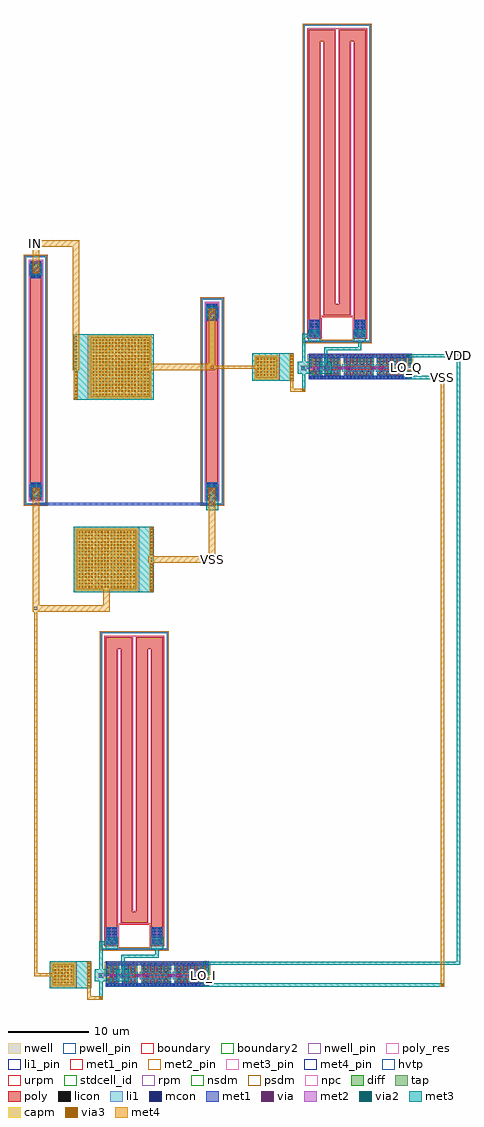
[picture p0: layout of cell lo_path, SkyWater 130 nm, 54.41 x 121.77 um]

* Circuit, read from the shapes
.subckt lo_path IN LOB_I LOB_Q LO_I LO_Q VDD VSS
XM1 n1 n2 VSS VSS sky130_fd_pr__nfet_01v8 w=0.65 l=0.15 m=2
XM2 n3 n1 VSS VSS sky130_fd_pr__nfet_01v8 w=0.65 l=0.15 m=4
XM3 LOB_I n3 VSS VSS sky130_fd_pr__nfet_01v8 w=0.65 l=0.15 m=8
XM4 LO_I LOB_I VSS VSS sky130_fd_pr__nfet_01v8 w=0.65 l=0.15 m=8
XM5 n4 n5 VSS VSS sky130_fd_pr__nfet_01v8 w=0.65 l=0.15 m=2
XM6 n6 n4 VSS VSS sky130_fd_pr__nfet_01v8 w=0.65 l=0.15 m=4
XM7 LOB_Q n6 VSS VSS sky130_fd_pr__nfet_01v8 w=0.65 l=0.15 m=8
XM8 LO_Q LOB_Q VSS VSS sky130_fd_pr__nfet_01v8 w=0.65 l=0.15 m=8
XM9 n1 n2 VDD VDD sky130_fd_pr__pfet_01v8_hvt w=1 l=0.15 m=2
XM10 n3 n1 VDD VDD sky130_fd_pr__pfet_01v8_hvt w=1 l=0.15 m=4
XM11 LOB_I n3 VDD VDD sky130_fd_pr__pfet_01v8_hvt w=1 l=0.15 m=8
XM12 LO_I LOB_I VDD VDD sky130_fd_pr__pfet_01v8_hvt w=1 l=0.15 m=8
XM13 n4 n5 VDD VDD sky130_fd_pr__pfet_01v8_hvt w=1 l=0.15 m=2
XM14 n6 n4 VDD VDD sky130_fd_pr__pfet_01v8_hvt w=1 l=0.15 m=4
XM15 LOB_Q n6 VDD VDD sky130_fd_pr__pfet_01v8_hvt w=1 l=0.15 m=8
XM16 LO_Q LOB_Q VDD VDD sky130_fd_pr__pfet_01v8_hvt w=1 l=0.15 m=8
XC17 n7 n2 sky130_fd_pr__cap_mim_m3_1 w=3 l=3
XC18 n7 VSS sky130_fd_pr__cap_mim_m3_1 w=7.8 l=7.8
XC19 n8 IN sky130_fd_pr__cap_mim_m3_1 w=7.8 l=7.8
XC20 n8 n5 sky130_fd_pr__cap_mim_m3_1 w=3 l=3
XR21 IN n7 VSS sky130_fd_pr__res_high_po w=1.41 l=25.48
XR22 n2 n1 VSS sky130_fd_pr__res_xhigh_po w=1.41 l=145.12
XR23 n8 VSS VSS sky130_fd_pr__res_high_po w=1.41 l=20.18
XR24 n5 n4 VSS sky130_fd_pr__res_xhigh_po w=1.41 l=145.12
.ends

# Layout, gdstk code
import gdstk
lib = gdstk.Library(unit=1e-6, precision=5e-09)
def R(c, l, rs):  # rectangles x0, y0, x1, y1
    for r in rs: c.add(gdstk.rectangle(r[:2], r[2:], *l))
def A(c, l, x, y, w, h, nx, ny, dx, dy):  # array of equal rectangles
    R(c, l, [(x+i*dx, y+j*dy, x+i*dx+w, y+j*dy+h) for i in range(nx) for j in range(ny)])
def P(c, l, *ps):  # polygons
    for p in ps: c.add(gdstk.Polygon(p, *l))
nwell_pin = (64, 16)
nwell = (64, 20)
diff = (65, 20)
tap = (65, 44)
poly_res = (66, 13)
poly = (66, 20)
licon = (66, 44)
li1_pin = (67, 16)
li1 = (67, 20)
mcon = (67, 44)
met1_pin = (68, 16)
met1 = (68, 20)
via = (68, 44)
met2_pin = (69, 16)
met2 = (69, 20)
via2 = (69, 44)
met3_pin = (70, 16)
met3 = (70, 20)
via3 = (70, 44)
met4_pin = (71, 16)
met4 = (71, 20)
hvtp = (78, 44)
urpm = (79, 20)
stdcell_id = (81, 4)
rpm = (86, 20)
capm = (89, 44)
nsdm = (93, 44)
psdm = (94, 20)
npc = (95, 20)
pwell_pin = (122, 16)
boundary = (235, 4)
boundary2 = (236, 0)

lo_path = lib.new_cell('lo_path')
R(lo_path, nwell_pin, [(10.605,-57.365,10.775,-57.195), (11.985,-57.365,12.155,-57.195), (14.285,-57.365,14.455,-57.195), (18.425,-57.365,18.595,-57.195), (35.905,18.435,36.075,18.605), (37.285,18.435,37.455,18.605), (39.585,18.435,39.755,18.605), (43.725,18.435,43.895,18.605)])
R(lo_path, nwell, [(9.81,-58.695,10.65,-57.09), (10.27,-58.695,12.03,-57.09), (11.65,-58.695,14.33,-57.09), (13.95,-58.695,18.47,-57.09), (18.09,-58.695,22.61,-57.09), (22.23,-58.695,23.07,-57.09), (35.11,17.105,35.95,18.71), (35.57,17.105,37.33,18.71), (36.95,17.105,39.63,18.71), (39.25,17.105,43.77,18.71), (43.39,17.105,47.91,18.71), (47.53,17.105,48.37,18.71)])
R(lo_path, diff, [(10.605,-59.765,11.695,-59.115), (12.025,-59.765,13.955,-59.115), (14.44,-59.765,18.05,-59.115), (18.58,-59.765,22.19,-59.115), (10.605,-58.515,11.695,-57.515), (12.025,-58.515,13.955,-57.515), (14.44,-58.515,18.05,-57.515), (18.58,-58.515,22.19,-57.515), (35.905,16.035,36.995,16.685), (37.325,16.035,39.255,16.685), (39.74,16.035,43.35,16.685), (43.88,16.035,47.49,16.685), (35.905,17.285,36.995,18.285), (37.325,17.285,39.255,18.285), (39.74,17.285,43.35,18.285), (43.88,17.285,47.49,18.285)])
R(lo_path, tap, [(10.145,-59.68,10.315,-59.155), (22.565,-59.68,22.735,-59.155), (10.145,-58.475,10.315,-57.6), (22.565,-58.475,22.735,-57.6), (9.375,-55.585,17.755,-55.415), (9.375,-55.415,9.545,-16.125), (17.585,-55.415,17.755,-16.125), (9.375,-16.125,17.755,-15.955), (-0.085,-0.085,2.625,0.085), (21.915,-0.085,24.625,0.085), (-0.085,0.085,0.085,30.805), (2.455,0.085,2.625,30.805), (21.915,0.085,22.085,25.505), (24.455,0.085,24.625,25.505), (35.445,16.12,35.615,16.645), (47.865,16.12,48.035,16.645), (35.445,17.325,35.615,18.2), (47.865,17.325,48.035,18.2), (34.675,20.215,43.055,20.385), (34.675,20.385,34.845,59.675), (42.885,20.385,43.055,59.675), (21.915,25.505,24.625,25.675), (-0.085,30.805,2.625,30.975), (34.675,59.675,43.055,59.845)])
R(lo_path, poly_res, [(10.025,-52.855,11.435,-18.015), (15.695,-52.855,17.105,-18.015), (11.915,-52.255,15.215,-50.845), (11.915,-50.845,13.325,-18.015), (13.805,-50.845,15.215,-18.015), (10.025,-18.015,13.325,-16.605), (13.805,-18.015,17.105,-16.605), (0.565,2.645,1.975,28.245), (22.565,2.645,23.975,22.945), (35.325,22.945,36.735,57.785), (40.995,22.945,42.405,57.785), (37.215,23.545,40.515,24.955), (37.215,24.955,38.625,57.785), (39.105,24.955,40.515,57.785), (35.325,57.785,38.625,59.195), (39.105,57.785,42.405,59.195)])
R(lo_path, poly, [(10.025,-54.935,11.435,-18.015), (15.695,-54.935,17.105,-18.015), (11.915,-52.255,15.215,-50.845), (11.915,-50.845,13.325,-18.015), (13.805,-50.845,15.215,-18.015), (10.025,-18.015,13.325,-16.605), (13.805,-18.015,17.105,-16.605), (0.565,0.565,1.975,30.325), (22.565,0.565,23.975,25.025), (35.325,20.865,36.735,57.785), (40.995,20.865,42.405,57.785), (37.215,23.545,40.515,24.955), (37.215,24.955,38.625,57.785), (39.105,24.955,40.515,57.785), (35.325,57.785,38.625,59.195), (39.105,57.785,42.405,59.195)])
P(lo_path, poly, [(47.23,18.415),(47.08,18.415),(47.08,17.125),(46.81,17.125),(46.81,18.415),(46.66,18.415),(46.66,17.125),(46.39,17.125),(46.39,18.415),(46.24,18.415),(46.24,17.125),(45.97,17.125),(45.97,18.415),(45.82,18.415),(45.82,17.125),(45.55,17.125),(45.55,18.415),(45.4,18.415),(45.4,17.125),(45.13,17.125),(45.13,18.415),(44.98,18.415),(44.98,17.125),(44.71,17.125),(44.71,18.415),(44.56,18.415),(44.56,17.125),(44.29,17.125),(44.29,18.415),(44.14,18.415),(44.14,15.905),(44.29,15.905),(44.29,16.795),(44.56,16.795),(44.56,15.905),(44.71,15.905),(44.71,16.795),(44.98,16.795),(44.98,15.905),(45.13,15.905),(45.13,16.795),(45.4,16.795),(45.4,15.905),(45.55,15.905),(45.55,16.795),(45.82,16.795),(45.82,15.905),(45.97,15.905),(45.97,16.795),(46.24,16.795),(46.24,15.905),(46.39,15.905),(46.39,16.795),(46.66,16.795),(46.66,15.905),(46.81,15.905),(46.81,16.795),(47.08,16.795),(47.08,15.905),(47.23,15.905)],
  [(43.09,18.415),(42.94,18.415),(42.94,17.125),(42.67,17.125),(42.67,18.415),(42.52,18.415),(42.52,17.125),(42.25,17.125),(42.25,18.415),(42.1,18.415),(42.1,17.125),(41.83,17.125),(41.83,18.415),(41.68,18.415),(41.68,17.125),(41.41,17.125),(41.41,18.415),(41.26,18.415),(41.26,17.125),(40.99,17.125),(40.99,18.415),(40.84,18.415),(40.84,17.125),(40.57,17.125),(40.57,18.415),(40.42,18.415),(40.42,17.125),(40.15,17.125),(40.15,18.415),(40,18.415),(40,15.905),(40.15,15.905),(40.15,16.795),(40.42,16.795),(40.42,15.905),(40.57,15.905),(40.57,16.795),(40.84,16.795),(40.84,15.905),(40.99,15.905),(40.99,16.795),(41.26,16.795),(41.26,15.905),(41.41,15.905),(41.41,16.795),(41.68,16.795),(41.68,15.905),(41.83,15.905),(41.83,16.795),(42.1,16.795),(42.1,15.905),(42.25,15.905),(42.25,16.795),(42.52,16.795),(42.52,15.905),(42.67,15.905),(42.67,16.795),(42.94,16.795),(42.94,15.905),(43.09,15.905)],
  [(38.995,18.415),(38.845,18.415),(38.845,17.125),(38.575,17.125),(38.575,18.415),(38.425,18.415),(38.425,17.125),(38.155,17.125),(38.155,18.415),(38.005,18.415),(38.005,17.125),(37.735,17.125),(37.735,18.415),(37.585,18.415),(37.585,17.125),(37.245,17.125),(37.245,16.795),(37.585,16.795),(37.585,15.905),(37.735,15.905),(37.735,16.795),(38.005,16.795),(38.005,15.905),(38.155,15.905),(38.155,16.795),(38.425,16.795),(38.425,15.905),(38.575,15.905),(38.575,16.795),(38.845,16.795),(38.845,15.905),(38.995,15.905)],
  [(36.165,15.905),(36.165,16.795),(35.865,16.795),(35.865,17.125),(36.165,17.125),(36.165,18.415),(36.315,18.415),(36.315,17.125),(36.585,17.125),(36.585,18.415),(36.735,18.415),(36.735,15.905),(36.585,15.905),(36.585,16.795),(36.315,16.795),(36.315,15.905)],
  [(21.93,-57.385),(21.78,-57.385),(21.78,-58.675),(21.51,-58.675),(21.51,-57.385),(21.36,-57.385),(21.36,-58.675),(21.09,-58.675),(21.09,-57.385),(20.94,-57.385),(20.94,-58.675),(20.67,-58.675),(20.67,-57.385),(20.52,-57.385),(20.52,-58.675),(20.25,-58.675),(20.25,-57.385),(20.1,-57.385),(20.1,-58.675),(19.83,-58.675),(19.83,-57.385),(19.68,-57.385),(19.68,-58.675),(19.41,-58.675),(19.41,-57.385),(19.26,-57.385),(19.26,-58.675),(18.99,-58.675),(18.99,-57.385),(18.84,-57.385),(18.84,-59.895),(18.99,-59.895),(18.99,-59.005),(19.26,-59.005),(19.26,-59.895),(19.41,-59.895),(19.41,-59.005),(19.68,-59.005),(19.68,-59.895),(19.83,-59.895),(19.83,-59.005),(20.1,-59.005),(20.1,-59.895),(20.25,-59.895),(20.25,-59.005),(20.52,-59.005),(20.52,-59.895),(20.67,-59.895),(20.67,-59.005),(20.94,-59.005),(20.94,-59.895),(21.09,-59.895),(21.09,-59.005),(21.36,-59.005),(21.36,-59.895),(21.51,-59.895),(21.51,-59.005),(21.78,-59.005),(21.78,-59.895),(21.93,-59.895)],
  [(17.79,-57.385),(17.64,-57.385),(17.64,-58.675),(17.37,-58.675),(17.37,-57.385),(17.22,-57.385),(17.22,-58.675),(16.95,-58.675),(16.95,-57.385),(16.8,-57.385),(16.8,-58.675),(16.53,-58.675),(16.53,-57.385),(16.38,-57.385),(16.38,-58.675),(16.11,-58.675),(16.11,-57.385),(15.96,-57.385),(15.96,-58.675),(15.69,-58.675),(15.69,-57.385),(15.54,-57.385),(15.54,-58.675),(15.27,-58.675),(15.27,-57.385),(15.12,-57.385),(15.12,-58.675),(14.85,-58.675),(14.85,-57.385),(14.7,-57.385),(14.7,-59.895),(14.85,-59.895),(14.85,-59.005),(15.12,-59.005),(15.12,-59.895),(15.27,-59.895),(15.27,-59.005),(15.54,-59.005),(15.54,-59.895),(15.69,-59.895),(15.69,-59.005),(15.96,-59.005),(15.96,-59.895),(16.11,-59.895),(16.11,-59.005),(16.38,-59.005),(16.38,-59.895),(16.53,-59.895),(16.53,-59.005),(16.8,-59.005),(16.8,-59.895),(16.95,-59.895),(16.95,-59.005),(17.22,-59.005),(17.22,-59.895),(17.37,-59.895),(17.37,-59.005),(17.64,-59.005),(17.64,-59.895),(17.79,-59.895)],
  [(13.695,-57.385),(13.545,-57.385),(13.545,-58.675),(13.275,-58.675),(13.275,-57.385),(13.125,-57.385),(13.125,-58.675),(12.855,-58.675),(12.855,-57.385),(12.705,-57.385),(12.705,-58.675),(12.435,-58.675),(12.435,-57.385),(12.285,-57.385),(12.285,-58.675),(11.945,-58.675),(11.945,-59.005),(12.285,-59.005),(12.285,-59.895),(12.435,-59.895),(12.435,-59.005),(12.705,-59.005),(12.705,-59.895),(12.855,-59.895),(12.855,-59.005),(13.125,-59.005),(13.125,-59.895),(13.275,-59.895),(13.275,-59.005),(13.545,-59.005),(13.545,-59.895),(13.695,-59.895)],
  [(10.865,-59.895),(10.865,-59.005),(10.565,-59.005),(10.565,-58.675),(10.865,-58.675),(10.865,-57.385),(11.015,-57.385),(11.015,-58.675),(11.285,-58.675),(11.285,-57.385),(11.435,-57.385),(11.435,-59.895),(11.285,-59.895),(11.285,-59.005),(11.015,-59.005),(11.015,-59.895)])
A(lo_path, licon, 10.645, -59.705, 0.17, 0.17, 3, 2, 0.42, 0.36)
A(lo_path, licon, 14.48, -59.705, 0.17, 0.17, 9, 2, 0.42, 1.62)
A(lo_path, licon, 18.62, -59.705, 0.17, 0.17, 9, 2, 0.42, 1.62)
A(lo_path, licon, 14.9, -59.365, 0.17, 0.17, 4, 2, 0.84, 0.94)
A(lo_path, licon, 19.04, -59.365, 0.17, 0.17, 4, 2, 0.84, 0.94)
A(lo_path, licon, 12.485, -58.925, 0.17, 0.17, 3, 1, 0.42, 0)
A(lo_path, licon, 14.9, -58.925, 0.17, 0.17, 7, 1, 0.42, 0)
A(lo_path, licon, 19.04, -58.925, 0.17, 0.17, 7, 1, 0.42, 0)
A(lo_path, licon, 10.645, -58.425, 0.17, 0.17, 3, 3, 0.42, 0.34)
A(lo_path, licon, 12.065, -58.085, 0.17, 0.17, 4, 1, 0.42, 0)
A(lo_path, licon, 12.065, -57.745, 0.17, 0.17, 5, 1, 0.42, 0)
A(lo_path, licon, 14.48, -57.745, 0.17, 0.17, 9, 1, 0.42, 0)
A(lo_path, licon, 18.62, -57.745, 0.17, 0.17, 9, 1, 0.42, 0)
A(lo_path, licon, 9.91, -55.585, 0.17, 0.17, 22, 2, 0.34, 39.46)
A(lo_path, licon, 9.375, -55.065, 0.17, 0.17, 1, 114, 0, 0.34)
A(lo_path, licon, 17.585, -55.065, 0.17, 0.17, 1, 114, 0, 0.34)
A(lo_path, licon, 0.505, -0.085, 0.17, 0.17, 5, 2, 0.34, 30.89)
A(lo_path, licon, 22.505, -0.085, 0.17, 0.17, 5, 2, 0.34, 25.59)
A(lo_path, licon, -0.085, 0.4, 0.17, 0.17, 1, 89, 0, 0.34)
A(lo_path, licon, 2.455, 0.4, 0.17, 0.17, 1, 89, 0, 0.34)
A(lo_path, licon, 21.915, 0.47, 0.17, 0.17, 1, 73, 0, 0.34)
A(lo_path, licon, 24.455, 0.47, 0.17, 0.17, 1, 73, 0, 0.34)
A(lo_path, licon, 35.945, 16.095, 0.17, 0.17, 3, 2, 0.42, 0.36)
A(lo_path, licon, 39.78, 16.095, 0.17, 0.17, 9, 2, 0.42, 1.62)
A(lo_path, licon, 43.92, 16.095, 0.17, 0.17, 9, 2, 0.42, 1.62)
A(lo_path, licon, 40.2, 16.435, 0.17, 0.17, 4, 2, 0.84, 0.94)
A(lo_path, licon, 44.34, 16.435, 0.17, 0.17, 4, 2, 0.84, 0.94)
A(lo_path, licon, 37.785, 16.875, 0.17, 0.17, 3, 1, 0.42, 0)
A(lo_path, licon, 40.2, 16.875, 0.17, 0.17, 7, 1, 0.42, 0)
A(lo_path, licon, 44.34, 16.875, 0.17, 0.17, 7, 1, 0.42, 0)
A(lo_path, licon, 35.945, 17.375, 0.17, 0.17, 3, 3, 0.42, 0.34)
A(lo_path, licon, 37.365, 17.715, 0.17, 0.17, 4, 1, 0.42, 0)
A(lo_path, licon, 37.365, 18.055, 0.17, 0.17, 5, 1, 0.42, 0)
A(lo_path, licon, 39.78, 18.055, 0.17, 0.17, 9, 1, 0.42, 0)
A(lo_path, licon, 43.92, 18.055, 0.17, 0.17, 9, 1, 0.42, 0)
A(lo_path, licon, 35.21, 20.215, 0.17, 0.17, 22, 2, 0.34, 39.46)
A(lo_path, licon, 34.675, 20.735, 0.17, 0.17, 1, 114, 0, 0.34)
A(lo_path, licon, 42.885, 20.735, 0.17, 0.17, 1, 114, 0, 0.34)
R(lo_path, licon, [(12.065,-59.705,12.235,-59.535), (12.905,-59.705,13.075,-59.535), (13.745,-59.7,13.915,-59.53), (12.485,-59.665,12.655,-59.495), (13.325,-59.665,13.495,-59.495), (10.145,-59.445,10.315,-59.275), (22.565,-59.445,22.735,-59.275), (10.645,-58.925,10.815,-58.755), (12.025,-58.925,12.195,-58.755), (12.065,-58.425,12.235,-58.255), (12.485,-58.425,12.655,-58.255), (13.325,-58.425,13.495,-58.255), (10.145,-58.355,10.315,-58.185), (22.565,-58.355,22.735,-58.185), (10.145,-57.89,10.315,-57.72), (22.565,-57.89,22.735,-57.72), (10.28,-54.855,10.47,-52.855), (10.99,-54.855,11.18,-52.855), (15.95,-54.855,16.14,-52.855), (16.66,-54.855,16.85,-52.855), (0.82,0.645,1.01,2.645), (1.53,0.645,1.72,2.645), (22.82,0.645,23.01,2.645), (23.53,0.645,23.72,2.645), (37.365,16.095,37.535,16.265), (38.205,16.095,38.375,16.265), (39.045,16.1,39.215,16.27), (37.785,16.135,37.955,16.305), (38.625,16.135,38.795,16.305), (35.445,16.355,35.615,16.525), (47.865,16.355,48.035,16.525), (35.945,16.875,36.115,17.045), (37.325,16.875,37.495,17.045), (37.365,17.375,37.535,17.545), (37.785,17.375,37.955,17.545), (38.625,17.375,38.795,17.545), (35.445,17.445,35.615,17.615), (47.865,17.445,48.035,17.615), (35.445,17.91,35.615,18.08), (47.865,17.91,48.035,18.08), (35.58,20.945,35.77,22.945), (36.29,20.945,36.48,22.945), (41.25,20.945,41.44,22.945), (41.96,20.945,42.15,22.945), (22.82,22.945,23.01,24.945), (23.53,22.945,23.72,24.945), (0.82,28.245,1.01,30.245), (1.53,28.245,1.72,30.245)])
A(lo_path, li1_pin, 11.065, -59.235, 0.17, 0.17, 1, 3, 0, 0.34)
A(lo_path, li1_pin, 11.985, -58.895, 0.17, 0.17, 6, 1, 0.46, 0)
A(lo_path, li1_pin, 15.205, -58.895, 0.17, 0.17, 8, 1, 0.46, 0)
A(lo_path, li1_pin, 19.345, -58.895, 0.17, 0.17, 7, 1, 0.46, 0)
A(lo_path, li1_pin, 36.365, 16.565, 0.17, 0.17, 1, 3, 0, 0.34)
A(lo_path, li1_pin, 37.285, 16.905, 0.17, 0.17, 6, 1, 0.46, 0)
A(lo_path, li1_pin, 40.505, 16.905, 0.17, 0.17, 8, 1, 0.46, 0)
A(lo_path, li1_pin, 44.645, 16.905, 0.17, 0.17, 7, 1, 0.46, 0)
R(lo_path, li1_pin, [(13.825,-59.235,13.995,-59.065), (10.605,-58.895,10.775,-58.725), (13.825,-58.555,13.995,-58.385), (39.125,16.565,39.295,16.735), (35.905,16.905,36.075,17.075), (39.125,17.245,39.295,17.415)])
R(lo_path, li1, [(10,-60.085,10.46,-59.915), (22.42,-60.085,22.88,-59.915), (10.085,-60,10.375,-59.19), (22.505,-60,22.795,-59.19), (10.565,-58.925,10.895,-58.675), (11.945,-58.925,13.575,-58.675), (14.82,-58.925,17.675,-58.675), (18.96,-58.925,21.815,-58.675), (10.085,-58.53,10.375,-57.28), (22.505,-58.53,22.795,-57.28), (10,-57.365,10.46,-57.195), (22.42,-57.365,22.88,-57.195), (9.375,-55.585,17.755,-55.415), (9.375,-55.415,9.545,-16.125), (17.585,-55.415,17.755,-16.125), (10.025,-54.935,11.435,-52.775), (15.695,-54.935,17.105,-52.775), (9.375,-16.125,17.755,-15.955), (-0.085,-0.085,2.625,0.085), (1.185,-0.085,1.355,0.085), (21.915,-0.085,24.625,0.085), (23.185,-0.085,23.355,0.085), (-0.085,0.085,0.085,30.805), (2.455,0.085,2.625,30.805), (21.915,0.085,22.085,25.505), (24.455,0.085,24.625,25.505), (0.565,0.565,1.975,2.725), (22.565,0.565,23.975,2.725), (35.3,15.715,35.76,15.885), (47.72,15.715,48.18,15.885), (35.385,15.8,35.675,16.61), (47.805,15.8,48.095,16.61), (35.865,16.875,36.195,17.125), (37.245,16.875,38.875,17.125), (40.12,16.875,42.975,17.125), (44.26,16.875,47.115,17.125), (35.385,17.27,35.675,18.52), (47.805,17.27,48.095,18.52), (35.3,18.435,35.76,18.605), (47.72,18.435,48.18,18.605), (34.675,20.215,43.055,20.385), (34.675,20.385,34.845,59.675), (42.885,20.385,43.055,59.675), (35.325,20.865,36.735,23.025), (40.995,20.865,42.405,23.025), (22.565,22.865,23.975,25.025), (21.915,25.505,24.625,25.675), (0.565,28.165,1.975,30.325), (-0.085,30.805,2.625,30.975), (34.675,59.675,43.055,59.845)])
P(lo_path, li1, [(47.635,17.465),(47.315,17.465),(47.315,16.705),(44.01,16.705),(44.01,17.295),(47.315,17.295),(47.315,17.465),(47.11,17.465),(47.11,18.265),(46.78,18.265),(46.78,17.465),(46.27,17.465),(46.27,18.265),(45.94,18.265),(45.94,17.465),(45.43,17.465),(45.43,18.265),(45.1,18.265),(45.1,17.465),(44.59,17.465),(44.59,18.265),(44.26,18.265),(44.26,17.465),(43.665,17.465),(43.665,16.515),(44.26,16.515),(44.26,16.055),(44.59,16.055),(44.59,16.515),(45.1,16.515),(45.1,16.055),(45.43,16.055),(45.43,16.515),(45.94,16.515),(45.94,16.055),(46.27,16.055),(46.27,16.515),(46.78,16.515),(46.78,16.055),(47.11,16.055),(47.11,16.515),(47.635,16.515)],
  [(47.72,15.885),(47.585,15.885),(47.585,16.345),(47.28,16.345),(47.28,15.885),(46.61,15.885),(46.61,16.345),(46.44,16.345),(46.44,15.885),(45.77,15.885),(45.77,16.345),(45.6,16.345),(45.6,15.885),(44.93,15.885),(44.93,16.345),(44.76,16.345),(44.76,15.885),(44.09,15.885),(44.09,16.345),(43.835,16.345),(43.835,15.885),(43.58,15.885),(43.58,15.715),(47.72,15.715)],
  [(47.72,18.605),(43.58,18.605),(43.58,18.435),(43.835,18.435),(43.835,17.635),(44.09,17.635),(44.09,18.435),(44.76,18.435),(44.76,17.635),(44.93,17.635),(44.93,18.435),(45.6,18.435),(45.6,17.635),(45.77,17.635),(45.77,18.435),(46.44,18.435),(46.44,17.635),(46.61,17.635),(46.61,18.435),(47.28,18.435),(47.28,17.635),(47.58,17.635),(47.58,18.435),(47.72,18.435)],
  [(43.495,17.465),(43.175,17.465),(43.175,16.705),(39.87,16.705),(39.87,17.295),(43.175,17.295),(43.175,17.465),(42.97,17.465),(42.97,18.265),(42.64,18.265),(42.64,17.465),(42.13,17.465),(42.13,18.265),(41.8,18.265),(41.8,17.465),(41.29,17.465),(41.29,18.265),(40.96,18.265),(40.96,17.465),(40.45,17.465),(40.45,18.265),(40.12,18.265),(40.12,17.465),(39.525,17.465),(39.525,16.515),(40.12,16.515),(40.12,16.055),(40.45,16.055),(40.45,16.515),(40.96,16.515),(40.96,16.055),(41.29,16.055),(41.29,16.515),(41.8,16.515),(41.8,16.055),(42.13,16.055),(42.13,16.515),(42.64,16.515),(42.64,16.055),(42.97,16.055),(42.97,16.515),(43.495,16.515)],
  [(43.58,15.885),(43.445,15.885),(43.445,16.345),(43.14,16.345),(43.14,15.885),(42.47,15.885),(42.47,16.345),(42.3,16.345),(42.3,15.885),(41.63,15.885),(41.63,16.345),(41.46,16.345),(41.46,15.885),(40.79,15.885),(40.79,16.345),(40.62,16.345),(40.62,15.885),(39.95,15.885),(39.95,16.345),(39.695,16.345),(39.695,15.885),(39.44,15.885),(39.44,15.715),(43.58,15.715)],
  [(43.58,18.605),(39.44,18.605),(39.44,18.435),(39.695,18.435),(39.695,17.635),(39.95,17.635),(39.95,18.435),(40.62,18.435),(40.62,17.635),(40.79,17.635),(40.79,18.435),(41.46,18.435),(41.46,17.635),(41.63,17.635),(41.63,18.435),(42.3,18.435),(42.3,17.635),(42.47,17.635),(42.47,18.435),(43.14,18.435),(43.14,17.635),(43.44,17.635),(43.44,18.435),(43.58,18.435)],
  [(39.44,15.885),(39.295,15.885),(39.295,16.35),(39.045,16.35),(39.045,15.885),(38.375,15.885),(38.375,16.345),(38.205,16.345),(38.205,15.885),(37.535,15.885),(37.535,16.345),(37.27,16.345),(37.27,15.885),(37.14,15.885),(37.14,15.715),(39.44,15.715)],
  [(39.44,18.605),(37.14,18.605),(37.14,18.435),(37.27,18.435),(37.27,17.295),(37.535,17.295),(37.535,18.435),(38.205,18.435),(38.205,17.635),(38.375,17.635),(38.375,18.435),(39.045,18.435),(39.045,17.975),(39.255,17.975),(39.255,18.435),(39.44,18.435)],
  [(39.31,17.485),(38.875,17.485),(38.875,18.265),(38.545,18.265),(38.545,17.465),(38.035,17.465),(38.035,18.265),(37.705,18.265),(37.705,17.295),(39.045,17.295),(39.045,16.705),(37.705,16.705),(37.705,16.055),(38.035,16.055),(38.035,16.525),(38.545,16.525),(38.545,16.055),(38.875,16.055),(38.875,16.525),(39.31,16.525)],
  [(35.885,17.295),(35.885,18.435),(35.76,18.435),(35.76,18.605),(37.14,18.605),(37.14,18.435),(36.995,18.435),(36.995,17.295),(36.785,17.295),(36.785,18.435),(36.115,18.435),(36.115,17.295)],
  [(36.285,16.055),(36.285,16.685),(36.365,16.685),(36.365,17.285),(36.285,17.285),(36.285,18.265),(36.615,18.265),(36.615,16.055)],
  [(35.76,15.715),(35.76,15.885),(35.885,15.885),(35.885,16.705),(36.115,16.705),(36.115,15.885),(36.785,15.885),(36.785,16.705),(36.995,16.705),(36.995,15.885),(37.14,15.885),(37.14,15.715)],
  [(22.335,-58.335),(22.015,-58.335),(22.015,-59.095),(18.71,-59.095),(18.71,-58.505),(22.015,-58.505),(22.015,-58.335),(21.81,-58.335),(21.81,-57.535),(21.48,-57.535),(21.48,-58.335),(20.97,-58.335),(20.97,-57.535),(20.64,-57.535),(20.64,-58.335),(20.13,-58.335),(20.13,-57.535),(19.8,-57.535),(19.8,-58.335),(19.29,-58.335),(19.29,-57.535),(18.96,-57.535),(18.96,-58.335),(18.365,-58.335),(18.365,-59.285),(18.96,-59.285),(18.96,-59.745),(19.29,-59.745),(19.29,-59.285),(19.8,-59.285),(19.8,-59.745),(20.13,-59.745),(20.13,-59.285),(20.64,-59.285),(20.64,-59.745),(20.97,-59.745),(20.97,-59.285),(21.48,-59.285),(21.48,-59.745),(21.81,-59.745),(21.81,-59.285),(22.335,-59.285)],
  [(22.42,-59.915),(22.285,-59.915),(22.285,-59.455),(21.98,-59.455),(21.98,-59.915),(21.31,-59.915),(21.31,-59.455),(21.14,-59.455),(21.14,-59.915),(20.47,-59.915),(20.47,-59.455),(20.3,-59.455),(20.3,-59.915),(19.63,-59.915),(19.63,-59.455),(19.46,-59.455),(19.46,-59.915),(18.79,-59.915),(18.79,-59.455),(18.535,-59.455),(18.535,-59.915),(18.28,-59.915),(18.28,-60.085),(22.42,-60.085)],
  [(22.42,-57.195),(18.28,-57.195),(18.28,-57.365),(18.535,-57.365),(18.535,-58.165),(18.79,-58.165),(18.79,-57.365),(19.46,-57.365),(19.46,-58.165),(19.63,-58.165),(19.63,-57.365),(20.3,-57.365),(20.3,-58.165),(20.47,-58.165),(20.47,-57.365),(21.14,-57.365),(21.14,-58.165),(21.31,-58.165),(21.31,-57.365),(21.98,-57.365),(21.98,-58.165),(22.28,-58.165),(22.28,-57.365),(22.42,-57.365)],
  [(18.195,-58.335),(17.875,-58.335),(17.875,-59.095),(14.57,-59.095),(14.57,-58.505),(17.875,-58.505),(17.875,-58.335),(17.67,-58.335),(17.67,-57.535),(17.34,-57.535),(17.34,-58.335),(16.83,-58.335),(16.83,-57.535),(16.5,-57.535),(16.5,-58.335),(15.99,-58.335),(15.99,-57.535),(15.66,-57.535),(15.66,-58.335),(15.15,-58.335),(15.15,-57.535),(14.82,-57.535),(14.82,-58.335),(14.225,-58.335),(14.225,-59.285),(14.82,-59.285),(14.82,-59.745),(15.15,-59.745),(15.15,-59.285),(15.66,-59.285),(15.66,-59.745),(15.99,-59.745),(15.99,-59.285),(16.5,-59.285),(16.5,-59.745),(16.83,-59.745),(16.83,-59.285),(17.34,-59.285),(17.34,-59.745),(17.67,-59.745),(17.67,-59.285),(18.195,-59.285)],
  [(18.28,-59.915),(18.145,-59.915),(18.145,-59.455),(17.84,-59.455),(17.84,-59.915),(17.17,-59.915),(17.17,-59.455),(17,-59.455),(17,-59.915),(16.33,-59.915),(16.33,-59.455),(16.16,-59.455),(16.16,-59.915),(15.49,-59.915),(15.49,-59.455),(15.32,-59.455),(15.32,-59.915),(14.65,-59.915),(14.65,-59.455),(14.395,-59.455),(14.395,-59.915),(14.14,-59.915),(14.14,-60.085),(18.28,-60.085)],
  [(18.28,-57.195),(14.14,-57.195),(14.14,-57.365),(14.395,-57.365),(14.395,-58.165),(14.65,-58.165),(14.65,-57.365),(15.32,-57.365),(15.32,-58.165),(15.49,-58.165),(15.49,-57.365),(16.16,-57.365),(16.16,-58.165),(16.33,-58.165),(16.33,-57.365),(17,-57.365),(17,-58.165),(17.17,-58.165),(17.17,-57.365),(17.84,-57.365),(17.84,-58.165),(18.14,-58.165),(18.14,-57.365),(18.28,-57.365)],
  [(14.14,-59.915),(13.995,-59.915),(13.995,-59.45),(13.745,-59.45),(13.745,-59.915),(13.075,-59.915),(13.075,-59.455),(12.905,-59.455),(12.905,-59.915),(12.235,-59.915),(12.235,-59.455),(11.97,-59.455),(11.97,-59.915),(11.84,-59.915),(11.84,-60.085),(14.14,-60.085)],
  [(14.14,-57.195),(11.84,-57.195),(11.84,-57.365),(11.97,-57.365),(11.97,-58.505),(12.235,-58.505),(12.235,-57.365),(12.905,-57.365),(12.905,-58.165),(13.075,-58.165),(13.075,-57.365),(13.745,-57.365),(13.745,-57.825),(13.955,-57.825),(13.955,-57.365),(14.14,-57.365)],
  [(14.01,-58.315),(13.575,-58.315),(13.575,-57.535),(13.245,-57.535),(13.245,-58.335),(12.735,-58.335),(12.735,-57.535),(12.405,-57.535),(12.405,-58.505),(13.745,-58.505),(13.745,-59.095),(12.405,-59.095),(12.405,-59.745),(12.735,-59.745),(12.735,-59.275),(13.245,-59.275),(13.245,-59.745),(13.575,-59.745),(13.575,-59.275),(14.01,-59.275)],
  [(10.585,-58.505),(10.585,-57.365),(10.46,-57.365),(10.46,-57.195),(11.84,-57.195),(11.84,-57.365),(11.695,-57.365),(11.695,-58.505),(11.485,-58.505),(11.485,-57.365),(10.815,-57.365),(10.815,-58.505)],
  [(10.985,-59.745),(10.985,-59.115),(11.065,-59.115),(11.065,-58.515),(10.985,-58.515),(10.985,-57.535),(11.315,-57.535),(11.315,-59.745)],
  [(10.46,-60.085),(10.46,-59.915),(10.585,-59.915),(10.585,-59.095),(10.815,-59.095),(10.815,-59.915),(11.485,-59.915),(11.485,-59.095),(11.695,-59.095),(11.695,-59.915),(11.84,-59.915),(11.84,-60.085)])
A(lo_path, mcon, 10.145, -60.085, 0.17, 0.17, 28, 2, 0.46, 2.72)
A(lo_path, mcon, 10.105, -54.84, 0.17, 0.17, 4, 6, 0.36, 0.36)
A(lo_path, mcon, 15.775, -54.84, 0.17, 0.17, 4, 6, 0.36, 0.36)
A(lo_path, mcon, 0.645, 0.66, 0.17, 0.17, 4, 6, 0.36, 0.36)
A(lo_path, mcon, 22.645, 0.66, 0.17, 0.17, 4, 6, 0.36, 0.36)
A(lo_path, mcon, 35.445, 15.715, 0.17, 0.17, 28, 2, 0.46, 2.72)
A(lo_path, mcon, 35.405, 20.96, 0.17, 0.17, 4, 6, 0.36, 0.36)
A(lo_path, mcon, 41.075, 20.96, 0.17, 0.17, 4, 6, 0.36, 0.36)
A(lo_path, mcon, 22.645, 22.955, 0.17, 0.17, 4, 6, 0.36, 0.36)
A(lo_path, mcon, 0.645, 28.255, 0.17, 0.17, 4, 6, 0.36, 0.36)
R(lo_path, mcon, [(10.645,-58.885,10.815,-58.715), (11.105,-58.885,11.275,-58.715), (12.055,-58.885,12.225,-58.715), (13.795,-58.885,13.965,-58.715), (15.055,-58.885,15.225,-58.715), (17.955,-58.885,18.125,-58.715), (19.195,-58.885,19.365,-58.715), (22.085,-58.885,22.255,-58.715), (1.185,-0.085,1.355,0.085), (23.185,-0.085,23.355,0.085), (35.945,16.915,36.115,17.085), (36.405,16.915,36.575,17.085), (37.355,16.915,37.525,17.085), (39.095,16.915,39.265,17.085), (40.355,16.915,40.525,17.085), (43.255,16.915,43.425,17.085), (44.495,16.915,44.665,17.085), (47.385,16.915,47.555,17.085)])
R(lo_path, met1_pin, [(10.47,-60.13,10.73,-59.87), (10.105,-60.09,10.36,-59.9), (22.525,-60.09,22.78,-59.9), (10.605,-60.085,10.775,-59.915), (11.985,-60.085,12.155,-59.915), (14.285,-60.085,14.455,-59.915), (18.425,-60.085,18.595,-59.915), (10.47,-57.41,10.73,-57.15), (10.11,-57.38,10.375,-57.235), (22.53,-57.38,22.795,-57.235), (10.605,-57.365,10.775,-57.195), (11.985,-57.365,12.155,-57.195), (14.285,-57.365,14.455,-57.195), (18.425,-57.365,18.595,-57.195), (35.77,15.67,36.03,15.93), (35.405,15.71,35.66,15.9), (47.825,15.71,48.08,15.9), (35.905,15.715,36.075,15.885), (37.285,15.715,37.455,15.885), (39.585,15.715,39.755,15.885), (43.725,15.715,43.895,15.885), (35.77,18.39,36.03,18.65), (35.41,18.42,35.675,18.565), (47.83,18.42,48.095,18.565), (35.905,18.435,36.075,18.605), (37.285,18.435,37.455,18.605), (39.585,18.435,39.755,18.605), (43.725,18.435,43.895,18.605)])
R(lo_path, met1, [(10,-60.24,10.46,-59.76), (22.42,-60.24,22.88,-59.76), (10.57,-58.945,10.89,-58.655), (11.03,-58.945,11.35,-58.655), (11.98,-58.945,12.3,-58.655), (13.72,-58.945,14.04,-58.655), (14.98,-58.945,15.3,-58.655), (17.88,-58.945,18.2,-58.655), (19.12,-58.945,19.44,-58.655), (22.01,-58.945,22.33,-58.655), (10,-57.52,10.46,-57.04), (22.42,-57.52,22.88,-57.04), (10.515,-54.975,10.945,-54.545), (16.185,-54.975,16.615,-54.545), (10.075,-54.905,11.385,-52.8), (15.745,-54.905,17.055,-52.8), (23.055,-0.215,23.485,0.215), (1.12,-0.15,23.42,0.15), (1.125,-0.145,1.415,0.145), (0.615,0.595,1.925,2.7), (22.615,0.595,23.925,2.7), (1.055,1.435,1.485,1.865), (23.055,1.435,23.485,1.865), (35.3,15.56,35.76,16.04), (47.72,15.56,48.18,16.04), (35.87,16.855,36.19,17.145), (36.33,16.855,36.65,17.145), (37.28,16.855,37.6,17.145), (39.02,16.855,39.34,17.145), (40.28,16.855,40.6,17.145), (43.18,16.855,43.5,17.145), (44.42,16.855,44.74,17.145), (47.31,16.855,47.63,17.145), (35.3,18.28,35.76,18.76), (47.72,18.28,48.18,18.76), (35.815,20.825,36.245,21.255), (41.485,20.825,41.915,21.255), (35.375,20.895,36.685,23), (41.045,20.895,42.355,23), (22.615,22.89,23.925,24.995), (23.055,23.725,23.485,24.155), (0.615,28.19,1.925,30.295), (1.055,29.025,1.485,29.455)])
R(lo_path, via, [(22.325,-60.075,22.475,-59.925), (10.655,-58.875,10.805,-58.725), (11.115,-58.875,11.265,-58.725), (12.065,-58.875,12.215,-58.725), (13.805,-58.875,13.955,-58.725), (15.065,-58.875,15.215,-58.725), (17.965,-58.875,18.115,-58.725), (19.205,-58.875,19.355,-58.725), (22.095,-58.875,22.245,-58.725), (22.325,-57.355,22.475,-57.205), (10.655,-54.835,10.805,-54.685), (16.325,-54.835,16.475,-54.685), (23.195,-0.075,23.345,0.075), (1.195,1.575,1.345,1.725), (23.195,1.575,23.345,1.725), (47.625,15.725,47.775,15.875), (35.955,16.925,36.105,17.075), (36.415,16.925,36.565,17.075), (37.365,16.925,37.515,17.075), (39.105,16.925,39.255,17.075), (40.365,16.925,40.515,17.075), (43.265,16.925,43.415,17.075), (44.505,16.925,44.655,17.075), (47.395,16.925,47.545,17.075), (47.625,18.445,47.775,18.595), (35.955,20.965,36.105,21.115), (41.625,20.965,41.775,21.115), (23.195,23.865,23.345,24.015), (1.195,29.165,1.345,29.315)])
R(lo_path, met2_pin, [(18.41,-58.93,18.67,-58.67), (18.41,-58.93,18.67,-58.67), (22.04,-58.93,22.3,-58.67), (22.04,-58.93,22.3,-58.67), (43.71,16.87,43.97,17.13), (43.71,16.87,43.97,17.13), (47.34,16.87,47.6,17.13), (47.34,16.87,47.6,17.13)])
R(lo_path, met2, [(22.215,-60.14,22.585,-59.86), (22.24,-60.13,22.56,-59.87), (9.11,-59.09,9.69,-58.51), (11.85,-59.09,12.43,-58.51), (9.265,-58.93,10.855,-58.67), (10.57,-58.93,10.89,-58.67), (11.03,-58.93,11.35,-58.67), (11.055,-58.93,12.265,-58.67), (11.98,-58.93,12.3,-58.67), (13.72,-58.93,14.04,-58.67), (13.75,-58.93,15.27,-58.67), (14.98,-58.93,15.3,-58.67), (17.88,-58.93,18.2,-58.67), (17.91,-58.93,19.41,-58.67), (19.12,-58.93,19.44,-58.67), (22.01,-58.93,22.33,-58.67), (22.215,-57.42,22.585,-57.14), (22.24,-57.41,22.56,-57.15), (10.44,-55.05,11.02,-54.47), (16.11,-55.05,16.69,-54.47), (22.98,-0.29,23.56,0.29), (0.98,1.36,1.56,1.94), (22.98,1.36,23.56,1.94), (47.515,15.66,47.885,15.94), (47.54,15.67,47.86,15.93), (34.41,16.71,34.99,17.29), (37.15,16.71,37.73,17.29), (34.565,16.87,36.155,17.13), (35.87,16.87,36.19,17.13), (36.33,16.87,36.65,17.13), (36.355,16.87,37.565,17.13), (37.28,16.87,37.6,17.13), (39.02,16.87,39.34,17.13), (39.05,16.87,40.57,17.13), (40.28,16.87,40.6,17.13), (43.18,16.87,43.5,17.13), (43.21,16.87,44.71,17.13), (44.42,16.87,44.74,17.13), (47.31,16.87,47.63,17.13), (47.515,18.38,47.885,18.66), (47.54,18.39,47.86,18.65), (35.74,20.75,36.32,21.33), (41.41,20.75,41.99,21.33), (22.98,23.65,23.56,24.23), (0.98,28.95,1.56,29.53)])
R(lo_path, via2, [(22.3,-60.1,22.5,-59.9), (9.3,-58.9,9.5,-58.7), (12.04,-58.9,12.24,-58.7), (22.3,-57.38,22.5,-57.18), (10.63,-54.86,10.83,-54.66), (16.3,-54.86,16.5,-54.66), (23.17,-0.1,23.37,0.1), (1.17,1.55,1.37,1.75), (23.17,1.55,23.37,1.75), (47.6,15.7,47.8,15.9), (34.6,16.9,34.8,17.1), (37.34,16.9,37.54,17.1), (47.6,18.42,47.8,18.62), (35.93,20.94,36.13,21.14), (41.6,20.94,41.8,21.14), (23.17,23.84,23.37,24.04), (1.17,29.14,1.37,29.34)])
R(lo_path, met3_pin, [(53.87,18.39,54.13,18.65)])
R(lo_path, met3, [(9.2,-61.8,9.6,-58.6), (9.21,-61.79,9.59,-61.41), (3,-60.4,8.16,-57), (22.2,-60.2,52.2,-59.8), (22.235,-60.165,22.565,-59.835), (51.81,-60.16,52.19,-59.84), (8.65,-59.55,10.15,-58.05), (11.39,-59.55,12.89,-58.05), (9.2,-59,9.6,-54.56), (11.94,-59,12.34,-56.2), (22.2,-57.48,54.2,-57.08), (53.8,-57.48,54.2,18.72), (22.235,-57.445,22.565,-57.115), (11.94,-56.6,16.6,-56.2), (16.2,-56.6,16.6,-54.56), (9.98,-55.51,11.48,-54.01), (15.65,-55.51,17.15,-54.01), (9.195,-54.96,10.925,-54.56), (6,-11,15.96,-2.8), (22.52,-0.75,24.02,0.75), (22.52,-0.745,24.02,2.405), (0.52,0.9,2.02,2.4), (22.52,0.9,24.02,2.4), (6,13,15.96,21.2), (34.5,14,34.9,17.2), (34.51,14.01,34.89,14.39), (28.3,15.4,33.46,18.8), (47.5,15.6,52.2,16), (47.535,15.635,47.865,15.965), (51.81,15.64,52.19,15.96), (33.95,16.25,35.45,17.75), (36.69,16.25,38.19,17.75), (34.5,16.8,34.9,21.24), (37.24,16.8,37.64,19.6), (47.5,18.32,54.2,18.72), (47.535,18.355,47.865,18.685), (37.24,19.2,41.9,19.6), (41.5,19.2,41.9,21.24), (35.28,20.29,36.78,21.79), (40.95,20.29,42.45,21.79), (34.495,20.84,36.225,21.24), (22.52,23.19,24.02,24.69), (0.52,28.49,2.02,29.99)])
A(lo_path, via3, 7.8, -60.2, 0.2, 0.2, 1, 8, 0, 0.4)
A(lo_path, via3, 3.6, -59.8, 0.2, 0.2, 6, 6, 0.4, 0.4)
A(lo_path, via3, 15.6, -10.8, 0.2, 0.2, 1, 20, 0, 0.4)
A(lo_path, via3, 6.6, -10.4, 0.2, 0.2, 18, 18, 0.4, 0.4)
A(lo_path, via3, 6.16, 13.2, 0.2, 0.2, 1, 20, 0, 0.4)
A(lo_path, via3, 8.36, 13.6, 0.2, 0.2, 18, 18, 0.4, 0.4)
A(lo_path, via3, 33.1, 15.6, 0.2, 0.2, 1, 8, 0, 0.4)
A(lo_path, via3, 28.9, 16, 0.2, 0.2, 6, 6, 0.4, 0.4)
R(lo_path, via3, [(9.3,-61.7,9.5,-61.5), (51.9,-60.1,52.1,-59.9), (23.17,-0.1,23.37,0.1), (1.17,1.55,1.37,1.75), (23.17,1.55,23.37,1.75), (34.6,14.1,34.8,14.3), (51.9,15.7,52.1,15.9), (23.17,23.84,23.37,24.04), (1.17,29.14,1.37,29.34)])
R(lo_path, met4_pin, [(4.57,-58.83,4.83,-58.57), (1.07,-13.2,1.47,-12.8), (23.07,-7.1,23.47,-6.7), (51.87,15.67,52.13,15.93), (23.07,16.9,23.47,17.3), (29.87,16.97,30.13,17.23), (1.07,32.34,1.47,32.74), (1.14,32.41,1.4,32.67)])
R(lo_path, met4, [(7.7,-61.8,8.1,-58.5), (7.7,-61.8,9.6,-61.4), (9.23,-61.77,9.57,-61.43), (7.66,-60.34,8.14,-57.06), (51.8,-60.2,52.2,16), (51.835,-60.165,52.165,-59.835), (3.395,-60.005,6.005,-57.395), (1.065,-58.9,4.895,-58.5), (1.07,-58.9,1.47,-12.8), (0.87,-13.405,1.67,2.045), (0.875,-13.4,10.505,-12.6), (9.7,-13.4,10.5,-6.5), (15.46,-10.94,15.94,-2.86), (6.395,-10.605,13.805,-3.195), (22.87,-7.305,23.67,2.045), (15.305,-7.3,23.675,-6.5), (23.1,-0.17,23.44,0.17), (1.1,1.48,1.44,1.82), (23.1,1.48,23.44,1.82), (6.02,13.06,6.5,21.14), (8.155,13.395,15.565,20.805), (33,14,33.4,17.3), (33,14,34.9,14.4), (34.53,14.03,34.87,14.37), (32.96,15.46,33.44,18.74), (51.835,15.635,52.165,15.965), (28.695,15.795,31.305,18.405), (5.87,16.7,6.67,32.94), (11.465,16.7,23.675,17.5), (22.87,16.71,23.67,24.35), (23.065,16.9,30.195,17.3), (23.1,23.77,23.44,24.11), (0.87,28.84,1.67,32.94), (1.1,29.07,1.44,29.41), (0.875,32.14,6.665,32.94)])
R(lo_path, hvtp, [(10,-58.75,10.46,-57.28), (10.46,-58.75,11.84,-57.28), (11.84,-58.75,14.14,-57.28), (14.14,-58.75,18.28,-57.28), (18.28,-58.75,22.42,-57.28), (22.42,-58.75,22.88,-57.28), (35.3,17.05,35.76,18.52), (35.76,17.05,37.14,18.52), (37.14,17.05,39.44,18.52), (39.44,17.05,43.58,18.52), (43.58,17.05,47.72,18.52), (47.72,17.05,48.18,18.52)])
R(lo_path, urpm, [(9.825,-55.135,11.635,-52.455), (15.495,-55.135,17.305,-52.455), (9.825,-52.455,17.305,-16.405), (35.125,20.665,36.935,23.345), (40.795,20.665,42.605,23.345), (35.125,23.345,42.605,59.395)])
R(lo_path, stdcell_id, [(10,-60,10.46,-57.28), (10.46,-60,11.84,-57.28), (11.84,-60,14.14,-57.28), (14.14,-60,18.28,-57.28), (18.28,-60,22.42,-57.28), (22.42,-60,22.88,-57.28), (35.3,15.8,35.76,18.52), (35.76,15.8,37.14,18.52), (37.14,15.8,39.44,18.52), (39.44,15.8,43.58,18.52), (43.58,15.8,47.72,18.52), (47.72,15.8,48.18,18.52)])
R(lo_path, rpm, [(0.365,0.365,2.175,30.525), (22.365,0.365,24.175,25.225)])
R(lo_path, capm, [(3.2,-60.2,6.2,-57.2), (6.2,-10.8,14,-3), (7.96,13.2,15.76,21), (28.5,15.6,31.5,18.6)])
R(lo_path, nsdm, [(10,-60.19,10.46,-59.81), (10.46,-60.19,11.84,-58.985), (11.84,-60.19,14.14,-58.985), (14.14,-60.19,18.28,-58.985), (18.28,-60.19,22.42,-58.985), (22.42,-60.19,22.88,-59.81), (10,-58.605,10.46,-57.47), (22.42,-58.605,22.88,-57.47), (35.3,15.61,35.76,15.99), (35.76,15.61,37.14,16.815), (37.14,15.61,39.44,16.815), (39.44,15.61,43.58,16.815), (43.58,15.61,47.72,16.815), (47.72,15.61,48.18,15.99), (35.3,17.195,35.76,18.33), (47.72,17.195,48.18,18.33)])
R(lo_path, psdm, [(10,-59.81,10.46,-59.025), (22.42,-59.81,22.88,-59.025), (10.46,-58.645,11.84,-57.09), (11.84,-58.645,14.14,-57.09), (14.14,-58.645,18.28,-57.09), (18.28,-58.645,22.42,-57.09), (10,-57.47,10.46,-57.09), (22.42,-57.47,22.88,-57.09), (9.25,-55.71,17.88,-55.29), (9.25,-55.29,11.545,-52.365), (15.585,-55.29,17.88,-52.365), (9.25,-52.365,17.88,-15.83), (-0.21,-0.21,2.75,31.1), (21.79,-0.21,24.75,25.8), (35.3,15.99,35.76,16.775), (47.72,15.99,48.18,16.775), (35.76,17.155,37.14,18.71), (37.14,17.155,39.44,18.71), (39.44,17.155,43.58,18.71), (43.58,17.155,47.72,18.71), (35.3,18.33,35.76,18.71), (47.72,18.33,48.18,18.71), (34.55,20.09,43.18,20.51), (34.55,20.51,36.845,23.435), (40.885,20.51,43.18,23.435), (34.55,23.435,43.18,59.97)])
R(lo_path, npc, [(10.46,-59.025,11.84,-58.655), (11.84,-59.025,14.14,-58.655), (14.14,-59.025,18.28,-58.655), (18.28,-59.025,22.42,-58.655), (9.93,-55.03,11.53,-18.11), (15.6,-55.03,17.2,-18.11), (11.82,-52.35,15.31,-50.75), (11.82,-50.75,13.42,-18.11), (13.71,-50.75,15.31,-18.11), (9.93,-18.11,13.42,-16.51), (13.71,-18.11,17.2,-16.51), (0.47,0.47,2.07,30.42), (22.47,0.47,24.07,25.12), (0.72,0.545,1.11,2.745), (1.43,0.545,1.82,2.745), (22.72,0.545,23.11,2.745), (23.43,0.545,23.82,2.745), (35.76,16.775,37.14,17.145), (37.14,16.775,39.44,17.145), (39.44,16.775,43.58,17.145), (43.58,16.775,47.72,17.145), (35.23,20.77,36.83,57.69), (40.9,20.77,42.5,57.69), (22.72,22.845,23.11,25.045), (23.43,22.845,23.82,25.045), (37.12,23.45,40.61,25.05), (37.12,25.05,38.72,57.69), (39.01,25.05,40.61,57.69), (0.72,28.145,1.11,30.345), (1.43,28.145,1.82,30.345), (35.23,57.69,38.72,59.29), (39.01,57.69,42.5,59.29)])
R(lo_path, pwell_pin, [(10.605,-60.085,10.775,-59.915), (11.985,-60.085,12.155,-59.915), (14.285,-60.085,14.455,-59.915), (18.425,-60.085,18.595,-59.915), (35.905,15.715,36.075,15.885), (37.285,15.715,37.455,15.885), (39.585,15.715,39.755,15.885), (43.725,15.715,43.895,15.885)])
R(lo_path, boundary, [(3,-60.4,6.4,-57), (9.46,-55.5,17.67,-16.04), (6,-11,14.2,-2.8), (0,0,2.54,30.89), (22,0,24.54,25.59), (7.76,13,15.96,21.2), (28.3,15.4,31.7,18.8), (34.76,20.3,42.97,59.76)])
R(lo_path, boundary2, [(10.46,-60,11.84,-57.28), (11.84,-60,14.14,-57.28), (14.14,-60,18.28,-57.28), (18.28,-60,22.42,-57.28), (35.76,15.8,37.14,18.52), (37.14,15.8,39.44,18.52), (39.44,15.8,43.58,18.52), (43.58,15.8,47.72,18.52)])
lo_path.add(gdstk.FlexPath([(43.58,18.52),(47.72,18.52)], 0.48, ends="flush", simple_path=True, layer=68, datatype=20))  # met1
lo_path.add(gdstk.FlexPath([(43.58,15.8),(47.72,15.8)], 0.48, ends="flush", simple_path=True, layer=68, datatype=20))  # met1
lo_path.add(gdstk.FlexPath([(39.44,18.52),(43.58,18.52)], 0.48, ends="flush", simple_path=True, layer=68, datatype=20))  # met1
lo_path.add(gdstk.FlexPath([(39.44,15.8),(43.58,15.8)], 0.48, ends="flush", simple_path=True, layer=68, datatype=20))  # met1
lo_path.add(gdstk.FlexPath([(37.14,18.52),(39.44,18.52)], 0.48, ends="flush", simple_path=True, layer=68, datatype=20))  # met1
lo_path.add(gdstk.FlexPath([(37.14,15.8),(39.44,15.8)], 0.48, ends="flush", simple_path=True, layer=68, datatype=20))  # met1
lo_path.add(gdstk.FlexPath([(35.76,18.52),(37.14,18.52)], 0.48, ends="flush", simple_path=True, layer=68, datatype=20))  # met1
lo_path.add(gdstk.FlexPath([(35.76,15.8),(37.14,15.8)], 0.48, ends="flush", simple_path=True, layer=68, datatype=20))  # met1
lo_path.add(gdstk.FlexPath([(18.28,-57.28),(22.42,-57.28)], 0.48, ends="flush", simple_path=True, layer=68, datatype=20))  # met1
lo_path.add(gdstk.FlexPath([(18.28,-60),(22.42,-60)], 0.48, ends="flush", simple_path=True, layer=68, datatype=20))  # met1
lo_path.add(gdstk.FlexPath([(14.14,-57.28),(18.28,-57.28)], 0.48, ends="flush", simple_path=True, layer=68, datatype=20))  # met1
lo_path.add(gdstk.FlexPath([(14.14,-60),(18.28,-60)], 0.48, ends="flush", simple_path=True, layer=68, datatype=20))  # met1
lo_path.add(gdstk.FlexPath([(11.84,-57.28),(14.14,-57.28)], 0.48, ends="flush", simple_path=True, layer=68, datatype=20))  # met1
lo_path.add(gdstk.FlexPath([(11.84,-60),(14.14,-60)], 0.48, ends="flush", simple_path=True, layer=68, datatype=20))  # met1
lo_path.add(gdstk.FlexPath([(10.46,-57.28),(11.84,-57.28)], 0.48, ends="flush", simple_path=True, layer=68, datatype=20))  # met1
lo_path.add(gdstk.FlexPath([(10.46,-60),(11.84,-60)], 0.48, ends="flush", simple_path=True, layer=68, datatype=20))  # met1
lo_path.add(gdstk.Label('IN', (1.27,32.54), layer=71, texttype=5))
lo_path.add(gdstk.Label('LO_I', (22.17,-58.8), layer=69, texttype=5))
lo_path.add(gdstk.Label('LOB_I', (18.54,-58.8), layer=69, texttype=5))
lo_path.add(gdstk.Label('LO_Q', (47.47,17), layer=69, texttype=5))
lo_path.add(gdstk.Label('LOB_Q', (43.84,17), layer=69, texttype=5))
lo_path.add(gdstk.Label('VDD', (54,18.52), layer=70, texttype=5))
lo_path.add(gdstk.Label('VSS', (52,15.8), layer=71, texttype=5))
lo_path.add(gdstk.Label('VSS', (23.27,-6.9), layer=71, texttype=5))
lo_path.add(gdstk.Label('IN', (1.27,32.54), layer=71, texttype=5))

lib.write_gds('lo_path.gds')
